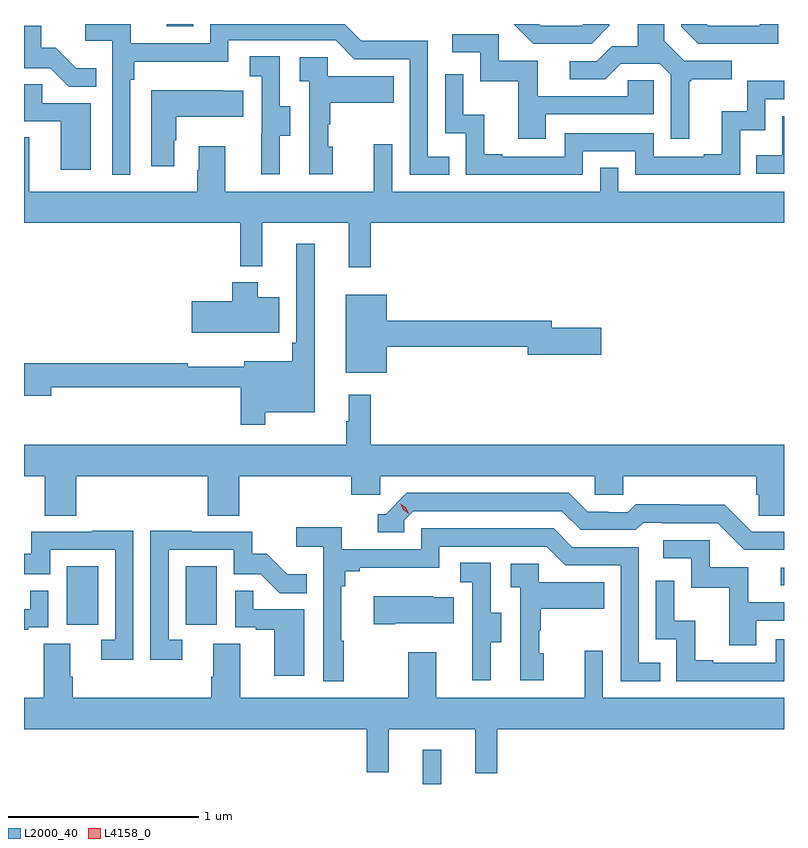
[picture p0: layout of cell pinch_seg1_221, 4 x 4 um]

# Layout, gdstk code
import gdstk
lib = gdstk.Library(unit=1e-6, precision=1e-09)
def R(c, l, rs):  # rectangles x0, y0, x1, y1
    for r in rs: c.add(gdstk.rectangle(r[:2], r[2:], *l))
def P(c, l, *ps):  # polygons
    for p in ps: c.add(gdstk.Polygon(p, *l))
L2000_40 = (2000, 40)
L4158_0 = (4158, 0)

pinch_seg1_221 = lib.new_cell('pinch_seg1_221')
R(pinch_seg1_221, L2000_40, [(985.527,563.431,985.624,563.611), (983.654,564.27,983.818,564.577), (984.278,564.27,984.442,564.577), (987.411,564.477,987.428,564.57), (984.179,567.42,984.318,567.431)])
P(pinch_seg1_221, L2000_40, [(986.509,567.421),(986.509,567.431),(986.372,567.431),(986.364,567.423),(986.148,567.423),(986.14,567.431),(986.005,567.431),(986.109,567.327),(986.415,567.327)],
  [(986.929,567.129),(986.941,567.129),(986.941,567.14),(987.154,567.14),(987.154,567.237),(986.904,567.237),(986.797,567.344),(986.797,567.431),(986.657,567.431),(986.657,567.314),(986.522,567.314),(986.442,567.234),(986.301,567.234),(986.301,567.141),(986.488,567.141),(986.569,567.222),(986.775,567.222),(986.832,567.165),(986.832,566.826),(986.929,566.826)],
  [(983.988,567.137),(984.008,567.137),(984.008,567.233),(984.504,567.233),(984.504,567.345),(985.068,567.345),(985.167,567.246),(985.458,567.246),(985.458,566.637),(985.667,566.637),(985.667,566.733),(985.554,566.733),(985.554,567.342),(985.204,567.342),(985.115,567.431),(984.408,567.431),(984.408,567.33),(983.99,567.33),(983.99,567.431),(983.751,567.431),(983.751,567.344),(983.892,567.344),(983.892,566.637),(983.988,566.637)],
  [(987.397,567.431),(987.3,567.431),(987.3,567.423),(987.03,567.423),(987.022,567.431),(986.886,567.431),(986.886,567.417),(986.976,567.327),(987.192,567.327),(987.192,567.326),(987.397,567.326)],
  [(983.807,567.199),(983.703,567.199),(983.596,567.306),(983.52,567.306),(983.52,567.423),(983.428,567.423),(983.428,567.198),(983.565,567.198),(983.663,567.1),(983.807,567.1)],
  [(986.173,566.955),(986.742,566.955),(986.742,567.135),(986.605,567.135),(986.605,567.051),(986.131,567.051),(986.131,567.237),(985.926,567.237),(985.926,567.378),(985.683,567.378),(985.683,567.282),(985.83,567.282),(985.83,567.129),(986.029,567.129),(986.029,566.826),(986.173,566.826)],
  [(984.775,566.842),(984.829,566.842),(984.829,566.997),(984.774,566.997),(984.774,567.26),(984.615,567.26),(984.615,567.157),(984.678,567.157),(984.678,566.853),(984.677,566.853),(984.677,566.64),(984.775,566.64)],
  [(985.054,566.784),(985.029,566.784),(985.029,566.903),(985.039,566.903),(985.039,567.017),(985.373,567.017),(985.373,567.157),(985.026,567.157),(985.026,567.255),(984.879,567.255),(984.879,567.131),(984.93,567.131),(984.93,566.64),(985.054,566.64)],
  [(986.37,566.76),(986.646,566.76),(986.646,566.637),(987.198,566.637),(987.198,566.873),(987.33,566.873),(987.33,567.036),(987.428,567.036),(987.428,567.132),(987.234,567.132),(987.234,566.971),(987.101,566.971),(987.101,566.746),(987.005,566.746),(987.005,566.733),(986.742,566.733),(986.742,566.856),(986.274,566.856),(986.274,566.733),(985.945,566.733),(985.945,566.746),(985.85,566.746),(985.85,566.954),(985.74,566.954),(985.74,567.166),(985.644,567.166),(985.644,566.856),(985.752,566.856),(985.752,566.637),(986.37,566.637)],
  [(983.779,567.015),(983.525,567.015),(983.525,567.113),(983.43,567.113),(983.43,566.919),(983.621,566.919),(983.621,566.664),(983.779,566.664)],
  [(984.22,566.82),(984.228,566.82),(984.228,566.942),(984.581,566.942),(984.581,567.079),(984.473,567.079),(984.473,567.082),(984.098,567.082),(984.098,566.682),(984.22,566.682)],
  [(987.428,566.946),(987.418,566.946),(987.418,566.74),(987.283,566.74),(987.283,566.643),(987.428,566.643)],
  [(984.347,566.788),(984.347,566.66),(984.34,566.66),(984.34,566.548),(983.455,566.548),(983.455,566.834),(983.428,566.834),(983.428,566.384),(984.565,566.384),(984.565,566.156),(984.683,566.156),(984.683,566.384),(985.136,566.384),(985.136,566.151),(985.253,566.151),(985.253,566.384),(987.428,566.384),(987.428,566.548),(986.556,566.548),(986.556,566.675),(986.46,566.675),(986.46,566.548),(985.365,566.548),(985.365,566.797),(985.268,566.797),(985.268,566.548),(984.487,566.548),(984.487,566.788)],
  [(984.697,565.388),(984.958,565.388),(984.958,566.275),(984.861,566.275),(984.861,565.753),(984.841,565.753),(984.841,565.657),(984.587,565.657),(984.587,565.627),(984.291,565.627),(984.291,565.646),(983.428,565.646),(983.428,565.475),(983.572,565.475),(983.572,565.518),(984.568,565.518),(984.568,565.323),(984.697,565.323)],
  [(984.772,565.993),(984.658,565.993),(984.658,566.071),(984.524,566.071),(984.524,565.971),(984.312,565.971),(984.312,565.805),(984.772,565.805)],
  [(985.336,565.732),(986.078,565.732),(986.078,565.69),(986.467,565.69),(986.467,565.832),(986.206,565.832),(986.206,565.868),(985.336,565.868),(985.336,566.005),(985.121,566.005),(985.121,565.595),(985.336,565.595)],
  [(985.136,565.34),(985.125,565.34),(985.125,565.216),(983.428,565.216),(983.428,565.052),(983.537,565.052),(983.537,564.844),(983.702,564.844),(983.702,565.052),(984.395,565.052),(984.395,564.844),(984.56,564.844),(984.56,565.052),(985.151,565.052),(985.151,564.954),(985.302,564.954),(985.302,565.052),(986.433,565.052),(986.433,564.954),(986.583,564.954),(986.583,565.052),(987.281,565.052),(987.281,564.954),(987.295,564.954),(987.295,564.844),(987.428,564.844),(987.428,565.216),(985.253,565.216),(985.253,565.48),(985.136,565.48)],
  [(987.428,564.759),(987.258,564.759),(987.116,564.901),(986.88,564.901),(986.88,564.904),(986.647,564.904),(986.605,564.861),(986.502,564.861),(986.502,564.864),(986.395,564.864),(986.296,564.963),(985.443,564.963),(985.332,564.852),(985.289,564.852),(985.289,564.756),(985.428,564.756),(985.428,564.819),(985.476,564.867),(986.259,564.867),(986.358,564.768),(986.647,564.768),(986.686,564.807),(986.785,564.807),(986.785,564.804),(987.078,564.804),(987.219,564.663),(987.428,564.663)],
  [(985.111,564.185),(985.099,564.185),(985.099,564.473),(985.118,564.473),(985.118,564.55),(985.195,564.55),(985.195,564.569),(985.614,564.569),(985.614,564.681),(986.178,564.681),(986.277,564.582),(986.568,564.582),(986.568,563.973),(986.777,563.973),(986.777,564.069),(986.664,564.069),(986.664,564.678),(986.314,564.678),(986.215,564.777),(985.518,564.777),(985.518,564.666),(985.1,564.666),(985.1,564.782),(984.861,564.782),(984.861,564.68),(985.002,564.68),(985.002,563.973),(985.111,563.973)],
  [(984.003,564.764),(983.785,564.764),(983.785,564.759),(983.467,564.759),(983.467,564.642),(983.428,564.642),(983.428,564.534),(983.565,564.534),(983.565,564.663),(983.907,564.663),(983.907,564.189),(983.835,564.189),(983.835,564.084),(984.003,564.084)],
  [(984.262,564.189),(984.189,564.189),(984.189,564.663),(984.531,564.663),(984.531,564.534),(984.675,564.534),(984.773,564.436),(984.917,564.436),(984.917,564.535),(984.813,564.535),(984.706,564.642),(984.63,564.642),(984.63,564.759),(984.311,564.759),(984.311,564.764),(984.093,564.764),(984.093,564.084),(984.262,564.084)],
  [(987.283,564.291),(987.428,564.291),(987.428,564.387),(987.241,564.387),(987.241,564.573),(987.036,564.573),(987.036,564.714),(986.793,564.714),(986.793,564.618),(986.94,564.618),(986.94,564.465),(987.139,564.465),(987.139,564.162),(987.283,564.162)],
  [(985.885,564.178),(985.939,564.178),(985.939,564.333),(985.884,564.333),(985.884,564.596),(985.725,564.596),(985.725,564.493),(985.788,564.493),(985.788,564.189),(985.787,564.189),(985.787,563.976),(985.885,563.976)],
  [(986.164,564.12),(986.139,564.12),(986.139,564.239),(986.149,564.239),(986.149,564.353),(986.483,564.353),(986.483,564.493),(986.136,564.493),(986.136,564.591),(985.989,564.591),(985.989,564.467),(986.04,564.467),(986.04,563.976),(986.164,563.976)],
  [(987.428,564.192),(987.384,564.192),(987.384,564.069),(987.055,564.069),(987.055,564.082),(986.96,564.082),(986.96,564.29),(986.85,564.29),(986.85,564.502),(986.754,564.502),(986.754,564.192),(986.862,564.192),(986.862,563.973),(987.428,563.973)],
  [(984.904,564.351),(984.635,564.351),(984.635,564.449),(984.54,564.449),(984.54,564.255),(984.647,564.255),(984.647,564.243),(984.746,564.243),(984.746,564),(984.904,564)],
  [(983.45,564.255),(983.556,564.255),(983.556,564.449),(983.461,564.449),(983.461,564.351),(983.428,564.351),(983.428,564.243),(983.45,564.243)],
  [(985.381,564.278),(985.691,564.278),(985.691,564.415),(985.583,564.415),(985.583,564.418),(985.269,564.418),(985.269,564.271),(985.381,564.271)],
  [(985.919,563.72),(987.428,563.72),(987.428,563.884),(986.475,563.884),(986.475,564.133),(986.378,564.133),(986.378,563.884),(985.597,563.884),(985.597,564.124),(985.45,564.124),(985.45,563.884),(984.565,563.884),(984.565,564.17),(984.425,564.17),(984.425,563.996),(984.413,563.996),(984.413,563.884),(983.684,563.884),(983.684,563.996),(983.671,563.996),(983.671,564.17),(983.531,564.17),(983.531,563.884),(983.428,563.884),(983.428,563.72),(985.231,563.72),(985.231,563.492),(985.349,563.492),(985.349,563.72),(985.802,563.72),(985.802,563.487),(985.919,563.487)])
P(pinch_seg1_221, L4158_0, [(985.454,564.854),(985.423,564.874),(985.407,564.907),(985.407,564.907),(985.407,564.907),(985.438,564.887),(985.454,564.855),(985.454,564.854)])

lib.write_gds('pinch_seg1_221.gds')
